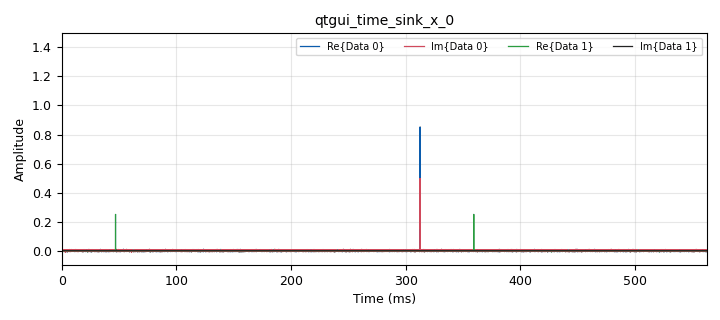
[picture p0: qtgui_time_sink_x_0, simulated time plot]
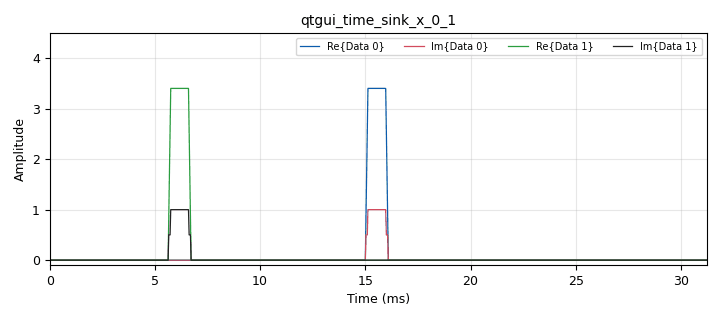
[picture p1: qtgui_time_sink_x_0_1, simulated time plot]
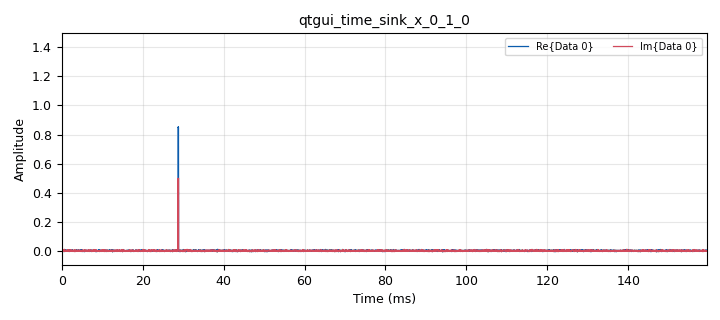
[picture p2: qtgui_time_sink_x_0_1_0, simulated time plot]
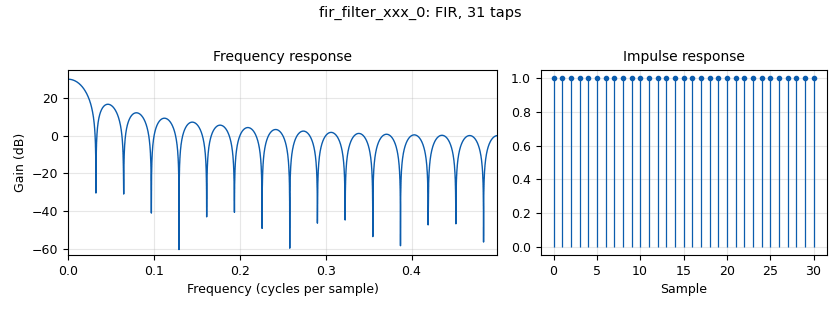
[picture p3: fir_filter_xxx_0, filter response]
<?xml version='1.0' encoding='utf-8'?>
<?grc format='1' created='3.8.git'?>
<flow_graph>
<block>
<key>options</key>
<param><key>id</key><value>qtgui_tags_viewing</value></param>
<param><key>category</key><value>Custom</value></param>
<param><key>generate_options</key><value>qt_gui</value></param>
<param><key>run_options</key><value>run</value></param>
</block>
<block>
<key>variable_qtgui_range</key>
<param><key>id</key><value>delay</value></param>
<param><key>value</key><value>300</value></param>
<param><key>label</key><value>Delay</value></param>
<param><key>orient</key><value>Qt.Horizontal</value></param>
<param><key>start</key><value>0</value></param>
<param><key>step</key><value>1</value></param>
<param><key>stop</key><value>1000</value></param>
</block>
<block>
<key>variable_qtgui_range</key>
<param><key>id</key><value>ntaps</value></param>
<param><key>value</key><value>30</value></param>
<param><key>label</key><value>Num Taps</value></param>
<param><key>orient</key><value>Qt.Horizontal</value></param>
<param><key>start</key><value>1</value></param>
<param><key>step</key><value>1</value></param>
<param><key>stop</key><value>100</value></param>
</block>
<block>
<key>variable</key>
<param><key>id</key><value>samp_rate</value></param>
<param><key>value</key><value>32000</value></param>
</block>
<block>
<key>analog_fastnoise_source_x</key>
<param><key>id</key><value>analog_fastnoise_source_x_0</value></param>
<param><key>amp</key><value>0.004</value></param>
<param><key>noise_type</key><value>analog.GR_GAUSSIAN</value></param>
<param><key>type</key><value>complex</value></param>
<param><key>seed</key><value>0</value></param>
<param><key>samples</key><value>8192</value></param>
</block>
<block>
<key>blocks_add_xx</key>
<param><key>id</key><value>blocks_add_xx_0</value></param>
<param><key>type</key><value>complex</value></param>
</block>
<block>
<key>blocks_add_xx</key>
<param><key>id</key><value>blocks_add_xx_1</value></param>
<param><key>type</key><value>complex</value></param>
</block>
<block>
<key>blocks_delay</key>
<param><key>id</key><value>blocks_delay_0</value></param>
<param><key>delay</key><value>1000</value></param>
<param><key>type</key><value>complex</value></param>
</block>
<block>
<key>blocks_delay</key>
<param><key>id</key><value>blocks_delay_0_0</value></param>
<param><key>delay</key><value>int(delay)</value></param>
<param><key>type</key><value>complex</value></param>
</block>
<block>
<key>blocks_tags_strobe</key>
<param><key>id</key><value>blocks_tags_strobe_0</value></param>
<param><key>key</key><value>pmt.intern("strobe")</value></param>
<param><key>nsamps</key><value>10000</value></param>
<param><key>type</key><value>complex</value></param>
<param><key>value</key><value>pmt.intern("TEST")</value></param>
</block>
<block>
<key>blocks_throttle</key>
<param><key>id</key><value>blocks_throttle_0</value></param>
<param><key>samples_per_second</key><value>50e3</value></param>
<param><key>type</key><value>complex</value></param>
</block>
<block>
<key>blocks_throttle</key>
<param><key>id</key><value>blocks_throttle_0_0</value></param>
<param><key>_enabled</key><value>False</value></param>
<param><key>samples_per_second</key><value>samp_rate</value></param>
<param><key>type</key><value>float</value></param>
</block>
<block>
<key>blocks_vector_source_x</key>
<param><key>id</key><value>blocks_vector_source_x_0</value></param>
<param><key>type</key><value>complex</value></param>
<param><key>repeat</key><value>True</value></param>
<param><key>tags</key><value>tagged_streams.make_lengthtags((1024,), (0,), "testing tags 0")</value></param>
<param><key>vector</key><value>[0.85+0.5j, 0.85, 0.85, 0.85+0.5j] + (10000-4)*[0,]</value></param>
</block>
<block>
<key>blocks_vector_source_x</key>
<param><key>id</key><value>blocks_vector_source_x_0_0</value></param>
<param><key>type</key><value>complex</value></param>
<param><key>repeat</key><value>True</value></param>
<param><key>tags</key><value>tagged_streams.make_lengthtags((128,), (1500,), "second stream")</value></param>
<param><key>vector</key><value>1500*[0,] + [0.25+0j,] + (10000-1500-1)*[0,]</value></param>
</block>
<block>
<key>blocks_vector_source_x</key>
<param><key>id</key><value>blocks_vector_source_x_0_0_0</value></param>
<param><key>_enabled</key><value>False</value></param>
<param><key>type</key><value>float</value></param>
<param><key>repeat</key><value>True</value></param>
<param><key>tags</key><value>tagged_streams.make_lengthtags((128,), (110,), "second stream")</value></param>
<param><key>vector</key><value>10*[0,] + [0.5,] + (100-10-1)*[0,]</value></param>
</block>
<block>
<key>blocks_vector_source_x</key>
<param><key>id</key><value>blocks_vector_source_x_0_1</value></param>
<param><key>_enabled</key><value>False</value></param>
<param><key>type</key><value>float</value></param>
<param><key>repeat</key><value>True</value></param>
<param><key>tags</key><value>tagged_streams.make_lengthtags((1024,), (0,), "testing tags")</value></param>
<param><key>vector</key><value>[-0.85,] + (100-1)*[0,]</value></param>
</block>
<block>
<key>fir_filter_xxx</key>
<param><key>id</key><value>fir_filter_xxx_0</value></param>
<param><key>decim</key><value>1</value></param>
<param><key>samp_delay</key><value>int(ntaps)</value></param>
<param><key>taps</key><value>int(ntaps)*[1,]+[1,]</value></param>
<param><key>type</key><value>ccc</value></param>
</block>
<block>
<key>import</key>
<param><key>id</key><value>import_0</value></param>
<param><key>import</key><value>import numpy</value></param>
</block>
<block>
<key>import</key>
<param><key>id</key><value>import_1</value></param>
<param><key>import</key><value>from gnuradio.digital.utils import tagged_streams</value></param>
</block>
<block>
<key>import</key>
<param><key>id</key><value>import_2</value></param>
<param><key>import</key><value>import time</value></param>
</block>
<block>
<key>qtgui_time_sink_x</key>
<param><key>id</key><value>qtgui_time_sink_x_0</value></param>
<param><key>color1</key><value>"blue"</value></param>
<param><key>label1</key><value></value></param>
<param><key>color2</key><value>"red"</value></param>
<param><key>label2</key><value></value></param>
<param><key>color3</key><value>"green"</value></param>
<param><key>label3</key><value></value></param>
<param><key>color4</key><value>"black"</value></param>
<param><key>label4</key><value></value></param>
<param><key>name</key><value></value></param>
<param><key>nconnections</key><value>2</value></param>
<param><key>size</key><value>18000</value></param>
<param><key>srate</key><value>samp_rate</value></param>
<param><key>tr_level</key><value>0.1</value></param>
<param><key>tr_mode</key><value>qtgui.TRIG_MODE_NORM</value></param>
<param><key>type</key><value>complex</value></param>
<param><key>ymax</key><value>1.5</value></param>
<param><key>ymin</key><value>-0.1</value></param>
</block>
<block>
<key>qtgui_time_sink_x</key>
<param><key>id</key><value>qtgui_time_sink_x_0_0</value></param>
<param><key>_enabled</key><value>False</value></param>
<param><key>color1</key><value>"blue"</value></param>
<param><key>label1</key><value></value></param>
<param><key>color2</key><value>"red"</value></param>
<param><key>label2</key><value></value></param>
<param><key>name</key><value></value></param>
<param><key>nconnections</key><value>2</value></param>
<param><key>size</key><value>1024</value></param>
<param><key>srate</key><value>samp_rate</value></param>
<param><key>tr_chan</key><value>1</value></param>
<param><key>tr_mode</key><value>qtgui.TRIG_MODE_TAG</value></param>
<param><key>tr_tag</key><value>second stream</value></param>
<param><key>type</key><value>float</value></param>
</block>
<block>
<key>qtgui_time_sink_x</key>
<param><key>id</key><value>qtgui_time_sink_x_0_1</value></param>
<param><key>gui_hint</key><value>1,0,1,1</value></param>
<param><key>color1</key><value>"blue"</value></param>
<param><key>label1</key><value></value></param>
<param><key>color2</key><value>"red"</value></param>
<param><key>label2</key><value></value></param>
<param><key>color3</key><value>"green"</value></param>
<param><key>label3</key><value></value></param>
<param><key>color4</key><value>"black"</value></param>
<param><key>label4</key><value></value></param>
<param><key>name</key><value></value></param>
<param><key>nconnections</key><value>2</value></param>
<param><key>size</key><value>1000</value></param>
<param><key>srate</key><value>samp_rate</value></param>
<param><key>tr_delay</key><value>0.015</value></param>
<param><key>tr_level</key><value>.1</value></param>
<param><key>tr_mode</key><value>qtgui.TRIG_MODE_NORM</value></param>
<param><key>type</key><value>complex</value></param>
<param><key>ymax</key><value>4.5</value></param>
<param><key>ymin</key><value>-0.1</value></param>
</block>
<block>
<key>qtgui_time_sink_x</key>
<param><key>id</key><value>qtgui_time_sink_x_0_1_0</value></param>
<param><key>gui_hint</key><value>1,1,1,1</value></param>
<param><key>color1</key><value>"blue"</value></param>
<param><key>label1</key><value></value></param>
<param><key>color2</key><value>"red"</value></param>
<param><key>label2</key><value></value></param>
<param><key>name</key><value></value></param>
<param><key>size</key><value>5100</value></param>
<param><key>srate</key><value>samp_rate</value></param>
<param><key>tr_delay</key><value>0.06</value></param>
<param><key>tr_level</key><value>.5</value></param>
<param><key>tr_mode</key><value>qtgui.TRIG_MODE_TAG</value></param>
<param><key>tr_tag</key><value>strobe</value></param>
<param><key>type</key><value>complex</value></param>
<param><key>update_time</key><value>0.001</value></param>
<param><key>ymax</key><value>1.5</value></param>
<param><key>ymin</key><value>-0.1</value></param>
</block>
<connection><source_block_id>analog_fastnoise_source_x_0</source_block_id><sink_block_id>blocks_add_xx_1</sink_block_id><source_key>0</source_key><sink_key>0</sink_key></connection>
<connection><source_block_id>blocks_add_xx_0</source_block_id><sink_block_id>blocks_add_xx_1</sink_block_id><source_key>0</source_key><sink_key>1</sink_key></connection>
<connection><source_block_id>blocks_add_xx_0</source_block_id><sink_block_id>fir_filter_xxx_0</sink_block_id><source_key>0</source_key><sink_key>0</sink_key></connection>
<connection><source_block_id>blocks_add_xx_1</source_block_id><sink_block_id>qtgui_time_sink_x_0</sink_block_id><source_key>0</source_key><sink_key>0</sink_key></connection>
<connection><source_block_id>blocks_add_xx_1</source_block_id><sink_block_id>qtgui_time_sink_x_0_1_0</sink_block_id><source_key>0</source_key><sink_key>0</sink_key></connection>
<connection><source_block_id>blocks_delay_0</source_block_id><sink_block_id>blocks_add_xx_0</sink_block_id><source_key>0</source_key><sink_key>1</sink_key></connection>
<connection><source_block_id>blocks_delay_0_0</source_block_id><sink_block_id>qtgui_time_sink_x_0_1</sink_block_id><source_key>0</source_key><sink_key>0</sink_key></connection>
<connection><source_block_id>blocks_tags_strobe_0</source_block_id><sink_block_id>blocks_delay_0</sink_block_id><source_key>0</source_key><sink_key>0</sink_key></connection>
<connection><source_block_id>blocks_throttle_0</source_block_id><sink_block_id>blocks_add_xx_0</sink_block_id><source_key>0</source_key><sink_key>0</sink_key></connection>
<connection><source_block_id>blocks_throttle_0_0</source_block_id><sink_block_id>qtgui_time_sink_x_0_0</sink_block_id><source_key>0</source_key><sink_key>0</sink_key></connection>
<connection><source_block_id>blocks_vector_source_x_0</source_block_id><sink_block_id>blocks_throttle_0</sink_block_id><source_key>0</source_key><sink_key>0</sink_key></connection>
<connection><source_block_id>blocks_vector_source_x_0_0</source_block_id><sink_block_id>qtgui_time_sink_x_0</sink_block_id><source_key>0</source_key><sink_key>1</sink_key></connection>
<connection><source_block_id>blocks_vector_source_x_0_0_0</source_block_id><sink_block_id>qtgui_time_sink_x_0_0</sink_block_id><source_key>0</source_key><sink_key>1</sink_key></connection>
<connection><source_block_id>blocks_vector_source_x_0_1</source_block_id><sink_block_id>blocks_throttle_0_0</sink_block_id><source_key>0</source_key><sink_key>0</sink_key></connection>
<connection><source_block_id>fir_filter_xxx_0</source_block_id><sink_block_id>blocks_delay_0_0</sink_block_id><source_key>0</source_key><sink_key>0</sink_key></connection>
<connection><source_block_id>fir_filter_xxx_0</source_block_id><sink_block_id>qtgui_time_sink_x_0_1</sink_block_id><source_key>0</source_key><sink_key>1</sink_key></connection>
</flow_graph>
